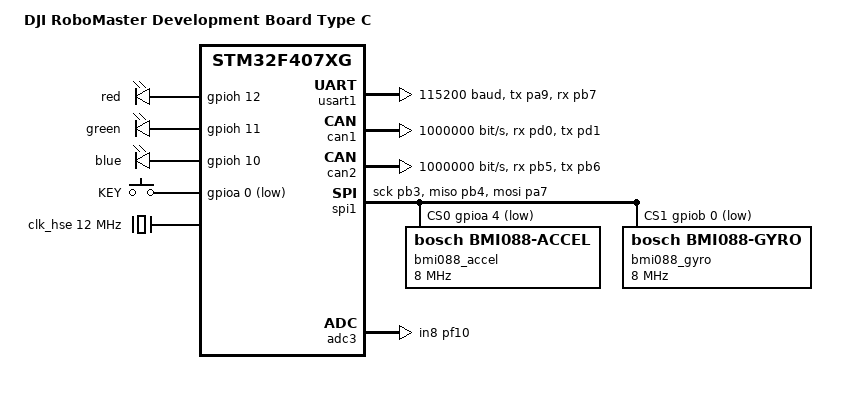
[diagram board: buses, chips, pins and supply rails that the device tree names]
/*
 * DJI RoboMaster Development Board Type C, STM32F407IGH6.
 *
 * The board exposes CAN1 on PD0/PD1 and CAN2 on PB5/PB6.
 * This robot uses CAN1 for DM43xx joint motors and CAN2 for DJI M3508 wheels.
 */

/dts-v1/;

#include <st/f4/stm32f407Xg.dtsi>
#include <zephyr/dt-bindings/gpio/gpio.h>
#include <zephyr/dt-bindings/pinctrl/stm32-pinctrl.h>
#include <zephyr/dt-bindings/input/input-event-codes.h>

/ {
	model = "DJI RoboMaster Development Board Type C";
	compatible = "dji,dji-f407igh6-c";

	chosen {
		zephyr,console = &usart1;
		zephyr,shell-uart = &usart1;
		zephyr,sram = &sram0;
		zephyr,flash = &flash0;
		zephyr,canbus = &can1;
	};

	aliases {
		led0 = &red_led;
		led1 = &green_led;
		led2 = &blue_led;
		sw0 = &key0;
		can-joint = &can1;
		can-dm = &can1;
		can-wheel = &can2;
		can-m3508 = &can2;
	};

	leds {
		compatible = "gpio-leds";

		red_led: red_led {
			gpios = <&gpioh 12 GPIO_ACTIVE_HIGH>;
			label = "red";
		};

		green_led: green_led {
			gpios = <&gpioh 11 GPIO_ACTIVE_HIGH>;
			label = "green";
		};

		blue_led: blue_led {
			gpios = <&gpioh 10 GPIO_ACTIVE_HIGH>;
			label = "blue";
		};
	};

	gpio_keys {
		compatible = "gpio-keys";

		key0: key_0 {
			gpios = <&gpioa 0 GPIO_ACTIVE_LOW>;
			label = "KEY";
			zephyr,code = <INPUT_KEY_0>;
		};
	};
};

&clk_hse {
	clock-frequency = <12000000>;
	status = "okay";
};

&pll {
	div-m = <12>;
	mul-n = <336>;
	div-p = <2>;
	div-q = <7>;
	clocks = <&clk_hse>;
	status = "okay";
};

&rcc {
	clocks = <&pll>;
	clock-frequency = <168000000>;
	ahb-prescaler = <1>;
	apb1-prescaler = <4>;
	apb2-prescaler = <2>;
};

&pinctrl {
	usart1_tx_pa9: usart1_tx_pa9 {
		pinmux = <STM32_PINMUX('A', 9, AF7)>;
	};

	usart1_rx_pb7: usart1_rx_pb7 {
		pinmux = <STM32_PINMUX('B', 7, AF7)>;
		bias-pull-up;
	};

	can1_rx_pd0: can1_rx_pd0 {
		pinmux = <STM32_PINMUX('D', 0, AF9)>;
		bias-pull-up;
	};

	can1_tx_pd1: can1_tx_pd1 {
		pinmux = <STM32_PINMUX('D', 1, AF9)>;
	};

	can2_rx_pb5: can2_rx_pb5 {
		pinmux = <STM32_PINMUX('B', 5, AF9)>;
		bias-pull-up;
	};

	can2_tx_pb6: can2_tx_pb6 {
		pinmux = <STM32_PINMUX('B', 6, AF9)>;
	};

	spi1_sck_pb3: spi1_sck_pb3 {
		pinmux = <STM32_PINMUX('B', 3, AF5)>;
	};

	spi1_miso_pb4: spi1_miso_pb4 {
		pinmux = <STM32_PINMUX('B', 4, AF5)>;
	};

	spi1_mosi_pa7: spi1_mosi_pa7 {
		pinmux = <STM32_PINMUX('A', 7, AF5)>;
	};

	adc3_in8_pf10: adc3_in8_pf10 {
		pinmux = <STM32_PINMUX('F', 10, ANALOG)>;
	};
};

&usart1 {
	pinctrl-0 = <&usart1_tx_pa9 &usart1_rx_pb7>;
	pinctrl-names = "default";
	current-speed = <115200>;
	status = "okay";
};

&can1 {
	pinctrl-0 = <&can1_rx_pd0 &can1_tx_pd1>;
	pinctrl-names = "default";
	bitrate = <1000000>;
	status = "okay";
};

&can2 {
	pinctrl-0 = <&can2_rx_pb5 &can2_tx_pb6>;
	pinctrl-names = "default";
	bitrate = <1000000>;
	status = "okay";
};

&spi1 {
	pinctrl-0 = <&spi1_sck_pb3 &spi1_miso_pb4 &spi1_mosi_pa7>;
	pinctrl-names = "default";
	cs-gpios = <&gpioa 4 GPIO_ACTIVE_LOW>, <&gpiob 0 GPIO_ACTIVE_LOW>;
	status = "okay";

	bmi088_accel: bmi088_accel@0 {
		compatible = "bosch,bmi088-accel";
		reg = <0>;
		spi-max-frequency = <8000000>;
	};

	bmi088_gyro: bmi088_gyro@1 {
		compatible = "bosch,bmi088-gyro";
		reg = <1>;
		spi-max-frequency = <8000000>;
	};
};

&adc3 {
	compatible = "st,stm32f4-adc", "st,stm32-adc";
	pinctrl-0 = <&adc3_in8_pf10>;
	pinctrl-names = "default";
	st,adc-prescaler = <2>;
	status = "okay";
};
